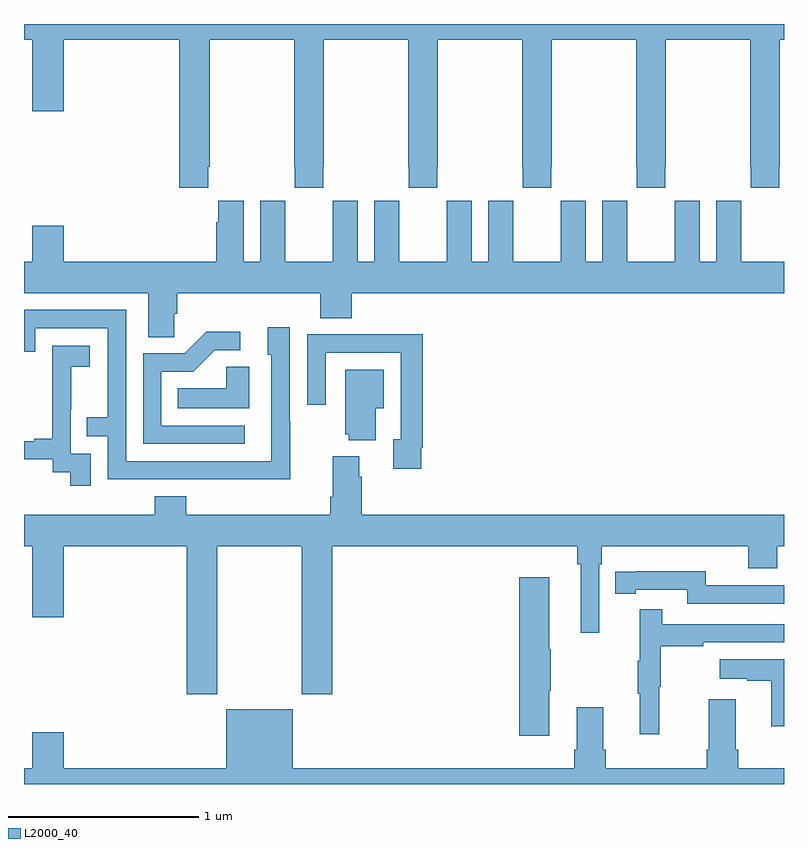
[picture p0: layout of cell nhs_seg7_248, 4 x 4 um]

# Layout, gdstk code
import gdstk
lib = gdstk.Library(unit=1e-6, precision=1e-09)
def P(c, l, *ps):  # polygons
    for p in ps: c.add(gdstk.Polygon(p, *l))
L2000_40 = (2000, 40)

nhs_seg7_248 = lib.new_cell('nhs_seg7_248')
P(nhs_seg7_248, L2000_40, [(129,1033.916),(129.044,1033.916),(129.044,1033.542),(129.208,1033.542),(129.208,1033.916),(129.818,1033.916),(129.818,1033.137),(129.971,1033.137),(129.971,1033.249),(129.977,1033.249),(129.977,1033.916),(130.423,1033.916),(130.423,1033.249),(130.425,1033.249),(130.425,1033.137),(130.575,1033.137),(130.575,1033.249),(130.578,1033.249),(130.578,1033.916),(131.023,1033.916),(131.023,1033.249),(131.025,1033.249),(131.025,1033.137),(131.175,1033.137),(131.175,1033.249),(131.178,1033.249),(131.178,1033.916),(131.623,1033.916),(131.623,1033.249),(131.625,1033.249),(131.625,1033.137),(131.775,1033.137),(131.775,1033.249),(131.778,1033.249),(131.778,1033.916),(132.223,1033.916),(132.223,1033.249),(132.225,1033.249),(132.225,1033.137),(132.375,1033.137),(132.375,1033.249),(132.378,1033.249),(132.378,1033.916),(132.823,1033.916),(132.823,1033.249),(132.825,1033.249),(132.825,1033.137),(132.975,1033.137),(132.975,1033.249),(132.978,1033.249),(132.978,1033.916),(133,1033.916),(133,1034),(129,1034)],
  [(129.792,1032.475),(129.806,1032.475),(129.806,1032.584),(130.559,1032.584),(130.559,1032.451),(130.724,1032.451),(130.724,1032.584),(133,1032.584),(133,1032.748),(132.775,1032.748),(132.775,1032.956),(132.774,1032.956),(132.774,1033.069),(132.644,1033.069),(132.644,1032.748),(132.556,1032.748),(132.556,1033.069),(132.426,1033.069),(132.426,1032.956),(132.425,1032.956),(132.425,1032.748),(132.175,1032.748),(132.175,1032.956),(132.174,1032.956),(132.174,1033.069),(132.044,1033.069),(132.044,1032.748),(131.956,1032.748),(131.956,1033.069),(131.826,1033.069),(131.826,1032.956),(131.825,1032.956),(131.825,1032.748),(131.575,1032.748),(131.575,1032.956),(131.574,1032.956),(131.574,1033.069),(131.444,1033.069),(131.444,1032.748),(131.356,1032.748),(131.356,1033.069),(131.226,1033.069),(131.226,1032.956),(131.225,1032.956),(131.225,1032.748),(130.975,1032.748),(130.975,1032.956),(130.974,1032.956),(130.974,1033.069),(130.844,1033.069),(130.844,1032.748),(130.756,1032.748),(130.756,1033.069),(130.626,1033.069),(130.626,1032.956),(130.625,1032.956),(130.625,1032.748),(130.375,1032.748),(130.375,1032.956),(130.374,1032.956),(130.374,1033.069),(130.244,1033.069),(130.244,1032.748),(130.156,1032.748),(130.156,1033.069),(130.022,1033.069),(130.022,1032.956),(130.013,1032.956),(130.013,1032.748),(129.208,1032.748),(129.208,1032.937),(129.044,1032.937),(129.044,1032.748),(129,1032.748),(129,1032.584),(129.653,1032.584),(129.653,1032.352),(129.792,1032.352)],
  [(130.401,1031.909),(130.398,1031.909),(130.398,1032.403),(130.283,1032.403),(130.283,1032.258),(130.302,1032.258),(130.302,1031.7),(129.537,1031.7),(129.537,1032.495),(129,1032.495),(129,1032.276),(129.06,1032.276),(129.06,1032.399),(129.441,1032.399),(129.441,1031.93),(129.331,1031.93),(129.331,1031.829),(129.441,1031.829),(129.441,1031.604),(129.937,1031.604),(129.937,1031.603),(130.401,1031.603)],
  [(130.162,1031.886),(129.723,1031.886),(129.723,1032.171),(129.892,1032.171),(130.003,1032.282),(130.138,1032.282),(130.138,1032.38),(129.959,1032.38),(129.846,1032.267),(129.627,1032.267),(129.627,1031.79),(130.162,1031.79)],
  [(131.092,1031.77),(131.099,1031.77),(131.099,1032.368),(130.807,1032.368),(130.807,1032.366),(130.491,1032.366),(130.491,1031.997),(130.587,1031.997),(130.587,1032.27),(130.983,1032.27),(130.983,1031.814),(130.943,1031.814),(130.943,1031.658),(131.092,1031.658)],
  [(129.351,1031.739),(129.246,1031.739),(129.246,1031.969),(129.248,1031.969),(129.248,1032.197),(129.346,1032.197),(129.346,1032.307),(129.148,1032.307),(129.148,1032.101),(129.149,1032.101),(129.149,1031.818),(129.053,1031.818),(129.053,1031.805),(129,1031.805),(129,1031.709),(129.15,1031.709),(129.15,1031.641),(129.243,1031.641),(129.243,1031.571),(129.351,1031.571)],
  [(130.186,1032.197),(130.065,1032.197),(130.065,1032.082),(129.808,1032.082),(129.808,1031.978),(130.186,1031.978)],
  [(130.852,1031.978),(130.894,1031.978),(130.894,1032.181),(130.691,1032.181),(130.691,1031.841),(130.709,1031.841),(130.709,1031.81),(130.852,1031.81)],
  [(130.017,1031.252),(130.462,1031.252),(130.462,1030.473),(130.622,1030.473),(130.622,1031.252),(131.911,1031.252),(131.911,1031.156),(131.93,1031.156),(131.93,1030.797),(132.027,1030.797),(132.027,1031.156),(132.041,1031.156),(132.041,1031.252),(132.812,1031.252),(132.812,1031.135),(132.965,1031.135),(132.965,1031.252),(133,1031.252),(133,1031.416),(130.778,1031.416),(130.778,1031.618),(130.765,1031.618),(130.765,1031.725),(130.625,1031.725),(130.625,1031.512),(130.613,1031.512),(130.613,1031.416),(129.854,1031.416),(129.854,1031.515),(129.689,1031.515),(129.689,1031.416),(129,1031.416),(129,1031.252),(129.044,1031.252),(129.044,1030.878),(129.208,1030.878),(129.208,1031.252),(129.857,1031.252),(129.857,1030.473),(130.017,1030.473)],
  [(133,1031.046),(132.588,1031.046),(132.588,1031.119),(132.22,1031.119),(132.22,1031.118),(132.112,1031.118),(132.112,1031.002),(132.22,1031.002),(132.22,1031.022),(132.492,1031.022),(132.492,1030.95),(133,1030.95)],
  [(131.764,1030.492),(131.772,1030.492),(131.772,1030.709),(131.764,1030.709),(131.764,1031.089),(131.606,1031.089),(131.606,1030.254),(131.764,1030.254)],
  [(132.344,1030.512),(132.352,1030.512),(132.352,1030.726),(132.575,1030.726),(132.575,1030.746),(133,1030.746),(133,1030.842),(132.359,1030.842),(132.359,1030.921),(132.242,1030.921),(132.242,1030.649),(132.231,1030.649),(132.231,1030.475),(132.242,1030.475),(132.242,1030.263),(132.344,1030.263)],
  [(133,1030.657),(132.663,1030.657),(132.663,1030.553),(132.806,1030.553),(132.806,1030.543),(132.932,1030.543),(132.932,1030.305),(133,1030.305)],
  [(133,1030.084),(132.758,1030.084),(132.758,1030.18),(132.745,1030.18),(132.745,1030.447),(132.605,1030.447),(132.605,1030.18),(132.593,1030.18),(132.593,1030.084),(132.062,1030.084),(132.062,1030.18),(132.049,1030.18),(132.049,1030.405),(131.909,1030.405),(131.909,1030.18),(131.897,1030.18),(131.897,1030.084),(130.414,1030.084),(130.414,1030.393),(130.064,1030.393),(130.064,1030.084),(129.208,1030.084),(129.208,1030.273),(129.044,1030.273),(129.044,1030.084),(129,1030.084),(129,1030),(133,1030)])

lib.write_gds('nhs_seg7_248.gds')
